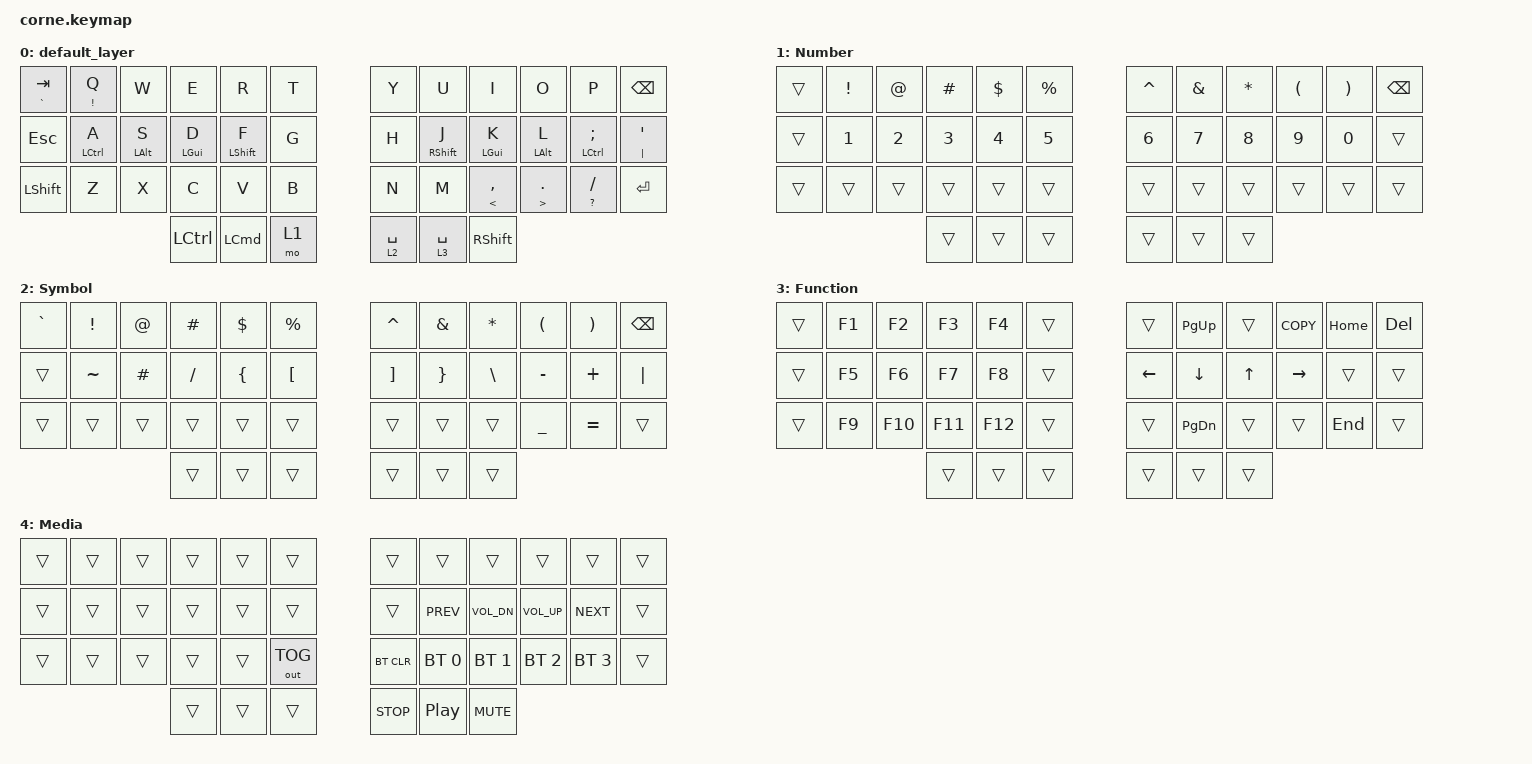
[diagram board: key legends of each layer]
/*
 * Copyright (c) 2020 The ZMK Contributors
 *
 * SPDX-License-Identifier: MIT
 */

#include <behaviors.dtsi>
#include <dt-bindings/zmk/bt.h>
#include <dt-bindings/zmk/keys.h>
#include <dt-bindings/zmk/outputs.h>

/*                                      42 KEY MATRIX / LAYOUT MAPPING

  ╭────────────────────────┬────────────────────────╮ ╭─────────────────────────┬─────────────────────────╮
  │  0   1   2   3   4   5 │  6   7   8   9  10  11 │ │ LT5 LT4 LT3 LT2 LT1 LT0 │ RT0 RT1 RT2 RT3 RT4 RT5 │
  │ 12  13  14  15  16  17 │ 18  19  20  21  22  23 │ │ LM5 LM4 LM3 LM2 LM1 LM0 │ RM0 RM1 RM2 RM3 RM4 RM5 │
  │ 24  25  26  27  28  29 │ 30  31  32  33  34  35 │ │ LB5 LB4 LB3 LB2 LB1 LB0 │ RB0 RB1 RB2 RB3 RB4 RB5 │
  ╰───────────╮ 36  37  38 │ 39  40  41 ╭───────────╯ ╰───────────╮ LH2 LH1 LH0 │ RH0 RH1 RH2 ╭───────────╯
              ╰────────────┴────────────╯                         ╰─────────────┴─────────────╯             */

#pragma once

#define LT0  5  // left-top row
#define LT1  4
#define LT2  3
#define LT3  2
#define LT4  1
#define LT5  0
#define RT0  6  // right-top row
#define RT1  7
#define RT2  8
#define RT3  9
#define RT4 10
#define RT5 11
#define LM0 17  // left-middle row
#define LM1 16
#define LM2 15
#define LM3 14
#define LM4 13
#define LM5 12
#define RM0 18  // right-middle row
#define RM1 19
#define RM2 20
#define RM3 21
#define RM4 22
#define RM5 23
#define LB0 29  // left-bottom row
#define LB1 28
#define LB2 27
#define LB3 26
#define LB4 25
#define LB5 24
#define RB0 30  // right-bottom row
#define RB1 31
#define RB2 32
#define RB3 33
#define RB4 34
#define RB5 35
#define LH0 38  // left thumb keys
#define LH1 37
#define LH2 36
#define RH0 39  // right thumb keys
#define RH1 40
#define RH2 41
#define KEYS_L LT0 LT1 LT2 LT3 LT4 LM0 LM1 LM2 LM3 LM4 LB0 LB1 LB2 LB3 LB4
#define KEYS_R RT0 RT1 RT2 RT3 RT4 RM0 RM1 RM2 RM3 RM4 RB0 RB1 RB2 RB3 RB4
#define KEYS_T LH2 LH1 LH0 RH0 RH1 RH2
#define HM_TAPPING_TERM 280
#define HM_TAPPING_TERM_FAST 175
#define HM_PRIOR_IDLE 150

/ {
    behaviors {
        hml: homerow_mods_left {
            compatible = "zmk,behavior-hold-tap";
            #binding-cells = <2>;
            bindings = <&kp>, <&kp>;

            flavor = "balanced";
            tapping-term-ms = <HM_TAPPING_TERM>;
            quick-tap-ms = <175>;                // repeat on tap-into-hold
            require-prior-idle-ms = <HM_PRIOR_IDLE>;
            hold-trigger-key-positions = <KEYS_R KEYS_T>;
            hold-trigger-on-release;
        };

        hmr: homerow_mods_right {
            compatible = "zmk,behavior-hold-tap";
            #binding-cells = <2>;
            bindings = <&kp>, <&kp>;

            flavor = "balanced";
            tapping-term-ms = <HM_TAPPING_TERM>;
            quick-tap-ms = <175>;
            require-prior-idle-ms = <HM_PRIOR_IDLE>;
            hold-trigger-key-positions = <KEYS_L KEYS_T>;
            hold-trigger-on-release;
        };
    };

    combos {
        compatible = "zmk,combos";

        left-parens {
            bindings = <&kp LEFT_PARENTHESIS>;
            key-positions = <16 15>;
            require-prior-idle-ms = <150>;
        };

        right-parens {
            bindings = <&kp RIGHT_PARENTHESIS>;
            key-positions = <19 20>;
            require-prior-idle-ms = <150>;
        };

        left-bracket {
            bindings = <&kp LEFT_BRACKET>;
            key-positions = <4 3>;
            require-prior-idle-ms = <150>;
        };

        right-bracket {
            bindings = <&kp RIGHT_BRACKET>;
            key-positions = <7 8>;
            require-prior-idle-ms = <150>;
        };

        left-brace {
            bindings = <&kp LEFT_BRACE>;
            key-positions = <28 27>;
            require-prior-idle-ms = <150>;
        };

        right-brace {
            bindings = <&kp RIGHT_BRACE>;
            key-positions = <31 32>;
            require-prior-idle-ms = <150>;
        };

        equals {
            bindings = <&kp KP_EQUAL>;
            key-positions = <3 1>;
            require-prior-idle-ms = <150>;
        };

        double-quotes {
            bindings = <&kp DOUBLE_QUOTES>;
            key-positions = <9 10>;
            require-prior-idle-ms = <150>;
        };

        semicolon {
            bindings = <&kp SEMI>;
            key-positions = <32 33>;
            require-prior-idle-ms = <150>;
        };

        amp {
            bindings = <&kp AMPS>;
            key-positions = <13 31>;
            require-prior-idle-ms = <150>;
        };
    };

    keymap {
        compatible = "zmk,keymap";

        default_layer {
            // -----------------------------------------------------------------------------------------
            // |  TAB |  Q  |  W  |  E  |  R  |  T  |   |  Y  |  U   |  I  |  O  |  P  | BKSP |
            // | CTRL |  A  |  S  |  D  |  F  |  G  |   |  H  |  J   |  K  |  L  |  ;  |  '   |
            // | SHFT |  Z  |  X  |  C  |  V  |  B  |   |  N  |  M   |  ,  |  .  |  /  | ESC  |
            //                    | GUI | LWR | SPC |   | ENT | RSE  | ALT |

            bindings = <
&mt GRAVE TAB  &mt EXCL Q    &kp W        &kp E             &kp R             &kp T    &kp Y        &kp U         &kp I                &kp O                    &kp P               &kp BSPC
&kp ESCAPE     &hml LCTRL A  &hml LALT S  &hml LGUI D       &hml LSHFT F      &kp G    &kp H        &hmr RSHFT J  &hmr LGUI K          &hmr LALT L              &hmr LCTRL SEMI     &mt PIPE SQT
&kp LSHFT      &kp Z         &kp X        &kp C             &kp V             &kp B    &kp N        &kp M         &mt LESS_THAN COMMA  &mt GREATER_THAN PERIOD  &mt QUESTION SLASH  &kp ENTER
                                          &kp LEFT_CONTROL  &kp LEFT_COMMAND  &mo 1    &lt 2 SPACE  &lt 3 SPACE   &kp RIGHT_SHIFT
            >;
        };

        Number {
            // -----------------------------------------------------------------------------------------
            // |  TAB |  1  |  2  |  3  |  4  |  5  |   |  6  |  7  |  8  |  9  |  0  | BKSP |
            // | BTCLR| BT1 | BT2 | BT3 | BT4 | BT5 |   | LFT | DWN |  UP | RGT |     |      |
            // | SHFT |     |     |     |     |     |   |     |     |     |     |     |      |
            //                    | GUI |     | SPC |   | ENT |     | ALT |

            bindings = <
&trans  &kp EXCL  &kp AT  &kp HASH  &kp DOLLAR  &kp PERCENT    &kp CARET  &kp AMPS  &kp ASTRK  &kp LEFT_PARENTHESIS  &kp RIGHT_PARENTHESIS  &kp BSPC
&trans  &kp N1    &kp N2  &kp N3    &kp N4      &kp N5         &kp N6     &kp N7    &kp N8     &kp N9                &kp N0                 &trans
&trans  &trans    &trans  &trans    &trans      &trans         &trans     &trans    &trans     &trans                &trans                 &trans
                          &trans    &trans      &trans         &trans     &trans    &trans
            >;
        };

        Symbol {
            // -----------------------------------------------------------------------------------------
            // |  TAB |  !  |  @  |  #  |  $  |  %  |   |  ^  |  &  |  *  |  (  |  )  | BKSP |
            // | CTRL |     |     |     |     |     |   |  -  |  =  |  [  |  ]  |  \  |  `   |
            // | SHFT |     |     |     |     |     |   |  _  |  +  |  {  |  }  | "|" |  ~   |
            //                    | GUI |     | SPC |   | ENT |     | ALT |

            bindings = <
&kp GRAVE  &kp EXCL   &kp AT    &kp HASH   &kp DLLR        &kp PRCNT           &kp CARET          &kp AMPS         &kp ASTRK      &kp LPAR   &kp RPAR   &kp BSPC
&trans     &kp TILDE  &kp HASH  &kp SLASH  &kp LEFT_BRACE  &kp LEFT_BRACKET    &kp RIGHT_BRACKET  &kp RIGHT_BRACE  &kp BACKSLASH  &kp MINUS  &kp PLUS   &kp PIPE
&trans     &trans     &trans    &trans     &trans          &trans              &trans             &trans           &trans         &kp UNDER  &kp EQUAL  &trans
                                &trans     &trans          &trans              &trans             &trans           &trans
            >;
        };

        Function {
            bindings = <
&trans  &kp F1  &kp F2   &kp F3   &kp F4   &trans    &trans          &kp PAGE_UP     &trans        &kp K_COPY       &kp HOME  &kp DEL
&trans  &kp F5  &kp F6   &kp F7   &kp F8   &trans    &kp LEFT_ARROW  &kp DOWN_ARROW  &kp UP_ARROW  &kp RIGHT_ARROW  &trans    &trans
&trans  &kp F9  &kp F10  &kp F11  &kp F12  &trans    &trans          &kp PAGE_DOWN   &trans        &trans           &kp END   &trans
                         &trans   &trans   &trans    &trans          &trans          &trans
            >;
        };

        Media {
            bindings = <
&trans  &trans  &trans  &trans  &trans  &trans    &trans      &trans            &trans        &trans           &trans        &trans
&trans  &trans  &trans  &trans  &trans  &trans    &trans      &kp C_PREV        &kp C_VOL_DN  &kp C_VOLUME_UP  &kp C_NEXT    &trans
&trans  &trans  &trans  &trans  &trans  &out OUT_TOG    &bt BT_CLR  &bt BT_SEL 0      &bt BT_SEL 1  &bt BT_SEL 2     &bt BT_SEL 3  &trans
                        &trans  &trans  &trans    &kp C_STOP  &kp C_PLAY_PAUSE  &kp C_MUTE
            >;
        };
    };

    conditional_layers {
        compatible = "zmk,conditional-layers";

        OneAndTwo {
            if-layers = <1 2>;
            then-layer = <4>;
        };
    };
};
